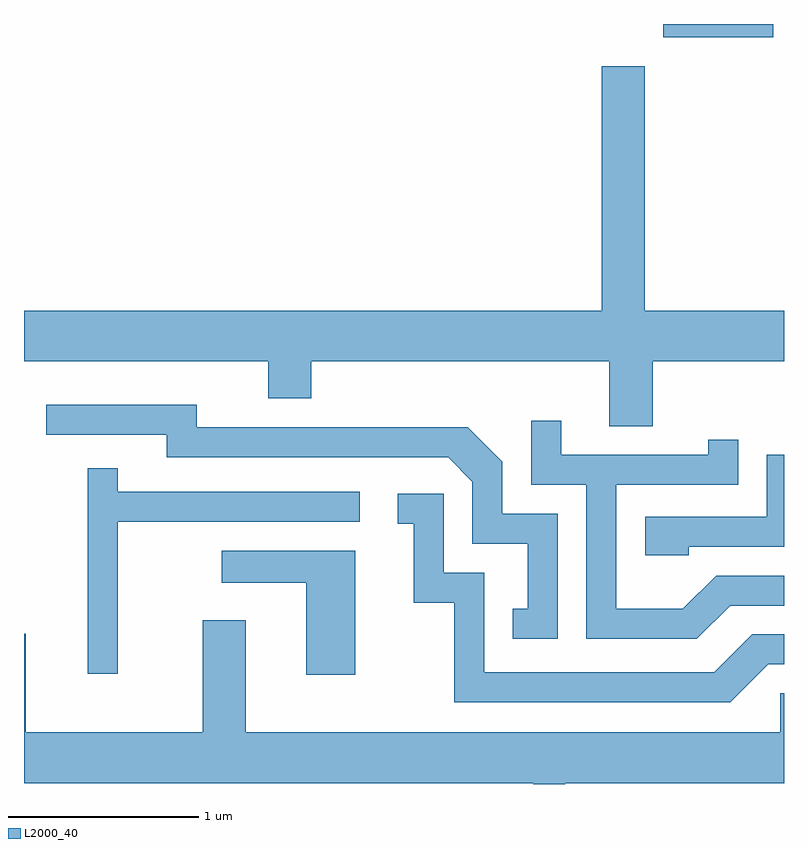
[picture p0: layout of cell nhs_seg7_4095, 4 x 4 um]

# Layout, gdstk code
import gdstk
lib = gdstk.Library(unit=1e-6, precision=1e-09)
def R(c, l, rs):  # rectangles x0, y0, x1, y1
    for r in rs: c.add(gdstk.rectangle(r[:2], r[2:], *l))
def P(c, l, *ps):  # polygons
    for p in ps: c.add(gdstk.Polygon(p, *l))
L2000_40 = (2000, 40)

nhs_seg7_4095 = lib.new_cell('nhs_seg7_4095')
R(nhs_seg7_4095, L2000_40, [(312.976,1778.181,313.554,1778.252)])
P(nhs_seg7_4095, L2000_40, [(312.919,1776.476),(313.611,1776.476),(313.611,1776.744),(312.879,1776.744),(312.879,1778.029),(312.651,1778.029),(312.651,1776.744),(309.611,1776.744),(309.611,1776.476),(310.896,1776.476),(310.896,1776.281),(311.124,1776.281),(311.124,1776.476),(312.691,1776.476),(312.691,1776.136),(312.919,1776.136)],
  [(312.419,1775.674),(312.129,1775.674),(312.129,1775.947),(311.947,1776.129),(310.519,1776.129),(310.519,1776.249),(309.728,1776.249),(309.728,1776.091),(310.361,1776.091),(310.361,1775.971),(311.844,1775.971),(311.971,1775.844),(311.971,1775.516),(312.261,1775.516),(312.261,1775.174),(312.183,1775.174),(312.183,1775.016),(312.419,1775.016)],
  [(313.327,1775.191),(313.611,1775.191),(313.611,1775.349),(313.254,1775.349),(313.079,1775.174),(312.729,1775.174),(312.729,1775.826),(313.369,1775.826),(313.369,1776.063),(313.211,1776.063),(313.211,1775.984),(312.439,1775.984),(312.439,1776.163),(312.281,1776.163),(312.281,1775.826),(312.571,1775.826),(312.571,1775.016),(313.152,1775.016)],
  [(313.109,1775.501),(313.611,1775.501),(313.611,1775.984),(313.521,1775.984),(313.521,1775.659),(312.881,1775.659),(312.881,1775.456),(313.109,1775.456)],
  [(310.104,1775.631),(311.378,1775.631),(311.378,1775.789),(310.104,1775.789),(310.104,1775.913),(309.946,1775.913),(309.946,1774.833),(310.104,1774.833)],
  [(313.527,1774.881),(313.611,1774.881),(313.611,1775.039),(313.444,1775.039),(313.244,1774.839),(312.034,1774.839),(312.034,1775.364),(311.819,1775.364),(311.819,1775.779),(311.578,1775.779),(311.578,1775.621),(311.661,1775.621),(311.661,1775.206),(311.876,1775.206),(311.876,1774.681),(313.327,1774.681)],
  [(311.354,1775.479),(310.653,1775.479),(310.653,1775.311),(311.096,1775.311),(311.096,1774.826),(311.354,1774.826)],
  [(312.459,1774.256),(313.611,1774.256),(313.611,1774.729),(313.591,1774.729),(313.591,1774.524),(310.779,1774.524),(310.779,1775.114),(310.551,1775.114),(310.551,1774.524),(309.619,1774.524),(309.619,1775.044),(309.611,1775.044),(309.611,1774.256),(312.291,1774.256),(312.291,1774.252),(312.459,1774.252)])

lib.write_gds('nhs_seg7_4095.gds')
